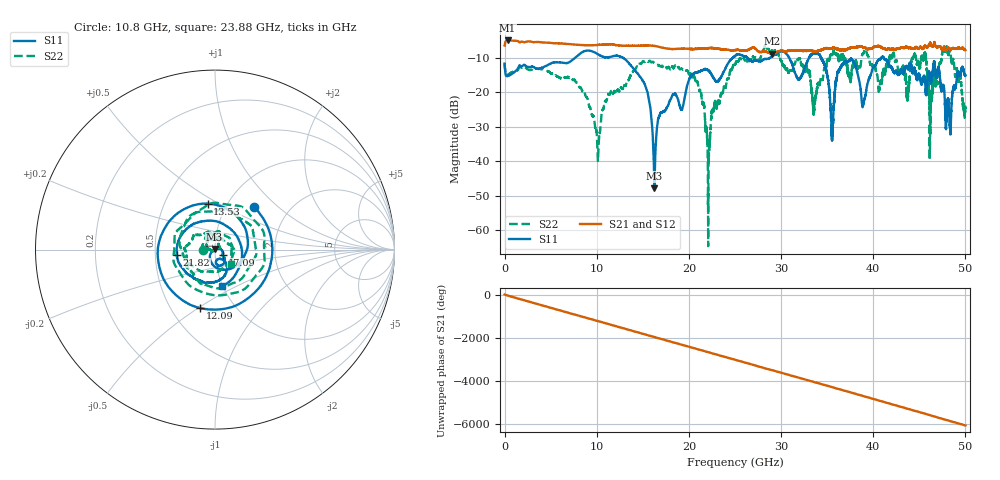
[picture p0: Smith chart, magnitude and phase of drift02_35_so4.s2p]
!Created with skrf (http://scikit-rf.org).
# Hz S RI R 50.0
!freq ReS11 ImS11 ReS21 ImS21 ReS12 ImS12 ReS22 ImS22
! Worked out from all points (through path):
!   10001 points, 300 kHz to 50 GHz, reference 50 ohm
!   highest |S21| = -5.04 dB at 325.3 MHz (marker M1); lowest = -8.9 dB at 29.01 GHz (marker M2)
!   group delay of S21, straight-line fit = 336 ps
!   lowest |S11| = -47.9 dB at 16.25 GHz (marker M3), VSWR 1.01, Z = 49.8 + j0.336 ohm
!   |S11| at or under -10 dB: start of sweep to 7.668 GHz; 12.82 GHz to 24.78 GHz (11.96 GHz wide, 63.6 % of centre); 41.12 GHz to end of sweep (the widest 3 of 11)
!   |S22| runs from -64.6 to -6.8 dB; largest |S21 - S12| = 0.032
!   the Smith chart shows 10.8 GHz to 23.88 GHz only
!   S11 on the Smith chart (normalised r, x): 10.8 GHz: 1.35, +0.71; 12.09 GHz: 0.69, -0.51; 13.53 GHz: 0.81, +0.45; 17.09 GHz: 1.09, -0.06; 21.82 GHz: 0.65, -0.04; 23.88 GHz: 0.99, -0.42
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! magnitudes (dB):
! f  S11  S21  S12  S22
! 300 kHz  -11.8  -6.5  -6.5  -11.6
! 325.3 MHz  -15.3  -5.0  -5.0  -15.1
! 8.335 GHz  -8.6  -6.4  -6.4  -19.1
! 10.11 GHz  -9.0  -6.3  -6.3  -38.7
! 10.8 GHz  -9.9  -6.2  -6.2  -23.8
! 12.09 GHz  -9.5  -6.4  -6.4  -20.3
! 13.53 GHz  -11.7  -6.6  -6.6  -16.1
! 16.25 GHz  -47.9  -6.6  -6.6  -11.6
! 16.67 GHz  -27.7  -6.8  -6.8  -12.2
! 17.09 GHz  -25.9  -7.1  -7.1  -12.4
! 21.82 GHz  -13.4  -7.4  -7.4  -30.8
! 23.88 GHz  -13.6  -7.6  -7.6  -18.4
! 25 GHz  -9.5  -7.8  -7.8  -11.9
! 29.01 GHz  -9.7  -8.9  -8.9  -8.0
! 33.34 GHz  -9.1  -8.0  -8.0  -20.3
! 35.55 GHz  -31.5  -7.2  -7.3  -9.2
! 36.8 GHz  -11.8  -7.8  -7.8  -9.8
! 41.67 GHz  -11.9  -7.4  -7.5  -11.9
! 45.5 GHz  -15.5  -7.0  -7.0  -9.8
! 46.25 GHz  -17.6  -6.1  -6.1  -22.5
! 48.12 GHz  -22.5  -7.2  -7.1  -9.0
! 50 GHz  -15.1  -7.9  -7.9  -24.2
